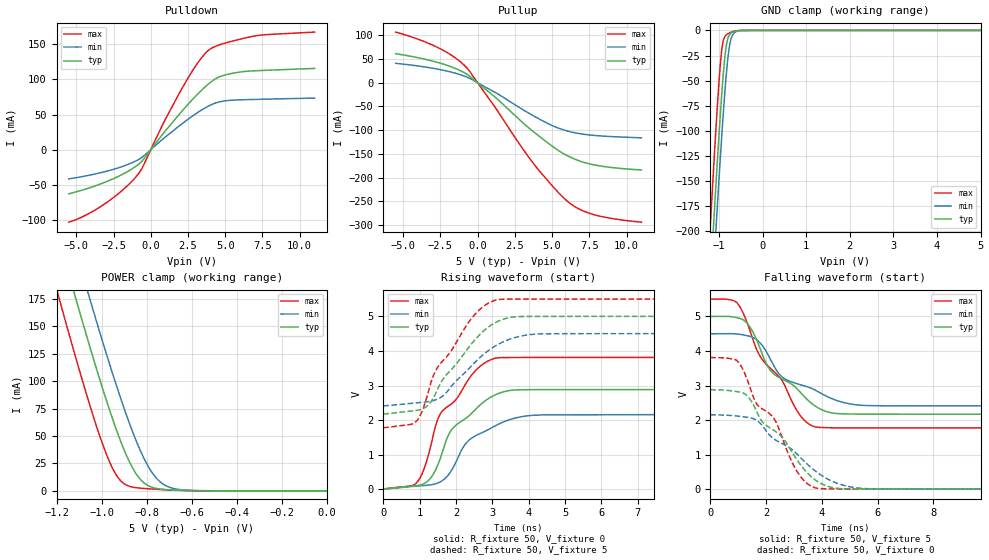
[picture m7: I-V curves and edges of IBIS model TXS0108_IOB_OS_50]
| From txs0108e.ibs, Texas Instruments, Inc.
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[Model]   TXS0108_IOB_OS_50
Model_type  I/O
Vinl=1.35
Vinh=3.85
Enable   Active-Low
Vref =   0
Rref =   1000000
Cref =   15p
Vmeas =   2.5
| variable   typ   min   max
C_comp   3.86pF   3.46pF   4.39pF
| C_pullup   3.46pF   2.86pF   4.58pF
| C_pulldown   4.19pF   3.96pF   4.70pF
| C_tri-state   3.86pF   3.46pF   4.39pF
[Temperature Range]   40   100   -40
| Ambient temperature   25   85   -40
[Voltage range]   5   4.5   5.5
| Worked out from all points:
|   slope of the pulldown table from 0 to 0.75 V, typ, clamps not added: 36.2 ohm
|   slope of the pullup table from 0 to 0.75 V, typ, clamps not added: 38.5 ohm
|   GND clamp passes 1 mA (typ) near -0.65 V on its own axis
|   POWER clamp passes 1 mA (typ) near -0.70 V on its own axis
|   rising waveform, R_fixture 50, V_fixture 0: 20-80 % time 1.09ns typ, 1.09ns min, 1.09ns max; typ from 0.002 V to 2.88 V
|   falling waveform, R_fixture 50, V_fixture 5: 20-80 % time 1.71ns typ, 1.92ns min, 1.59ns max; typ from 5 V to 2.17 V
|   rising waveform, R_fixture 50, V_fixture 5: 20-80 % time 1.19ns typ, 1.23ns min, 1.14ns max; typ from 2.17 V to 5 V
|   falling waveform, R_fixture 50, V_fixture 0: 20-80 % time 1.73ns typ, 1.96ns min, 1.56ns max; typ from 2.88 V to 0.002 V
[GND Clamp]
| TXS0108_IOB_OS_50
|   Voltage   I(typ)   I(min)   I(max)
-5.5V     -3.818A    -3.833A    -3.807A
-1.2V     -251.1mA   -295.9mA   -195.5mA
-1.13V    -198mA     -243mA     -141.9mA
-1.07V    -153.6mA   -198.6mA   -97.95mA
-1.055V   -142.8mA   -187.6mA   -87.39mA
-990mV    -97.47mA   -141.4mA   -45.26mA
-940mV    -65.4mA    -107.5mA   -20.67mA
-845mV    -19.03mA   -50.34mA   -5.035mA
-750mV    -3.833mA   -13.41mA   -2.254mA
-660mV    -1.122mA   -2.889mA   -927.9uA
-470mV    -35.14uA   -59.96uA   -12.54uA
5V        202.4pA    91.17uA    143.2pA
[POWER Clamp]
| TXS0108_IOB_OS_50
|   Voltage   I(typ)   I(min)   I(max)
-5.5V     3.692A     3.704A     3.7A
-1.2V     237.8mA    281.5mA    184.1mA
-1.175V   219.3mA    263.1mA    165.5mA
-1.11V    172.1mA    216mA      118.1mA
-1.06V    136.8mA    180.5mA    83.33mA
-980mV    83.42mA    125.7mA    34.17mA
-925mV    50.55mA    90.34mA    11.63mA
-835mV    12.28mA    40.05mA    2.674mA
-785mV    4.005mA    19.62mA    1.857mA
-740mV    1.718mA    8.258mA    1.311mA
-620mV    423.7uA    670.1uA    303.8uA
0V        0A         0A         0A
[Pulldown]
| TXS0108_IOB_OS_50
|   Voltage   I(typ)   I(min)   I(max)
-5.5V     -62.73mA   -41.54mA   -103.2mA
-3.075V   -46.32mA   -31.25mA   -76.9mA
-925mV    -22.52mA   -15.25mA   -36.91mA
-570mV    -15.83mA   -10.66mA   -25.87mA
905mV     24.79mA    16.66mA    40.02mA
2.23V     58.08mA    38.98mA    92.03mA
3.205V    80.33mA    53.65mA    124.9mA
3.905V    94.02mA    62.38mA    141.8mA
4.69V     104.3mA    68.38mA    149.7mA
5.985V    110.5mA    70.9mA     157.2mA
7.455V    112.7mA    71.74mA    163.2mA
11V       115.6mA    73.4mA     167.3mA
[Pullup]
| TXS0108_IOB_OS_50
|   Voltage   I(typ)   I(min)   I(max)
-5.5V     61.15mA    40.9mA     106.8mA
-2.685V   42.84mA    28.69mA    74.44mA
-1.65V    32.06mA    21.41mA    55.73mA
-855mV    20.42mA    13.58mA    35.63mA
1.23V     -31.81mA   -21.3mA    -54.24mA
2.775V    -76.82mA   -51.71mA   -127.7mA
3.73V     -102.9mA   -69.36mA   -169.3mA
5.125V    -136.3mA   -92.03mA   -221.3mA
6.14V     -155.6mA   -102.7mA   -252.8mA
6.93V     -165.8mA   -107.7mA   -268mA
7.89V     -173.6mA   -111.2mA   -278.8mA
11V       -184mA     -116.2mA   -294mA
[Ramp]
| TXS0108_IOB_OS_50
| variable   typ   min   max
dV/dt_r   1.73/1.09E-09   1.29/1.09E-09   2.29/1.09E-09
dV/dt_f   1.70/1.71E-09   1.25/1.92E-09   2.24/1.59E-09
R_load = 50
[Rising Waveform]
| TXS0108_IOB_OS_50
R_fixture =   50
C_fixture =   0
L_fixture =   0
V_fixture =   0
V_fixture_min = 0
V_fixture_max = 0
|   Time   V(typ)   V(min)   V(max)
0s        2.46mV     1.877mV    3.154mV
925ps     105.1mV    91.51mV    201.1mV
1.105ns   154mV      106.5mV    550.4mV
1.285ns   304.9mV    124.9mV    1.178V
1.575ns   919.5mV    218.6mV    2.194V
1.9ns     1.75V      589.7mV    2.489V
2.335ns   2.106V     1.398V     3.166V
3.105ns   2.743V     1.849V     3.793V
4.335ns   2.881V     2.148V     3.811V
19.91ns   2.883V     2.157V     3.812V
[Falling Waveform]
| TXS0108_IOB_OS_50
R_fixture =   50
C_fixture =   0
L_fixture =   0
V_fixture =   5
V_fixture_min = 4.5
V_fixture_max = 5.5
|   Time   V(typ)   V(min)   V(max)
0s        5V         4.5V       5.5V
980ps     4.956V     4.488V     5.37V
1.385ns   4.737V     4.429V     4.679V
1.8ns     4.043V     4.221V     3.83V
2.14ns    3.456V     3.787V     3.509V
2.57ns    3.19V      3.254V     3.15V
3.205ns   2.826V     3.03V      2.158V
3.77ns    2.403V     2.865V     1.804V
5.585ns   2.172V     2.421V     1.773V
19.91ns   2.17V      2.409V     1.772V
[Rising Waveform]
| TXS0108_IOB_OS_50
R_fixture =   50
C_fixture =   0
L_fixture =   0
V_fixture =   5
V_fixture_min = 4.5
V_fixture_max = 5.5
|   Time   V(typ)   V(min)   V(max)
0s        2.17V      2.409V     1.772V
920ps     2.282V     2.499V     1.984V
1.075ns   2.323V     2.515V     2.28V
1.23ns    2.433V     2.534V     2.792V
1.355ns   2.605V     2.558V     3.231V
1.495ns   2.896V     2.608V     3.528V
2.515ns   4.316V     3.664V     5.052V
3.145ns   4.852V     4.183V     5.483V
4.405ns   4.999V     4.495V     5.5V
19.91ns   5V         4.5V       5.5V
[Falling Waveform]
| TXS0108_IOB_OS_50
R_fixture =   50
C_fixture =   0
L_fixture =   0
V_fixture =   0
V_fixture_min = 0
V_fixture_max = 0
|   Time   V(typ)   V(min)   V(max)
0s        2.883V     2.157V     3.812V
1.015ns   2.817V     2.112V     3.668V
1.34ns    2.687V     2.079V     3.139V
1.65ns    2.275V     1.998V     2.486V
2.345ns   1.669V     1.422V     1.966V
3.11ns    849.7mV    1.018V     519.4mV
3.795ns   252.3mV    510.2mV    35.43mV
4.62ns    20.97mV    152.8mV    6.582mV
5.63ns    5.676mV    15.89mV    3.719mV
19.91ns   2.461mV    1.878mV    3.154mV
